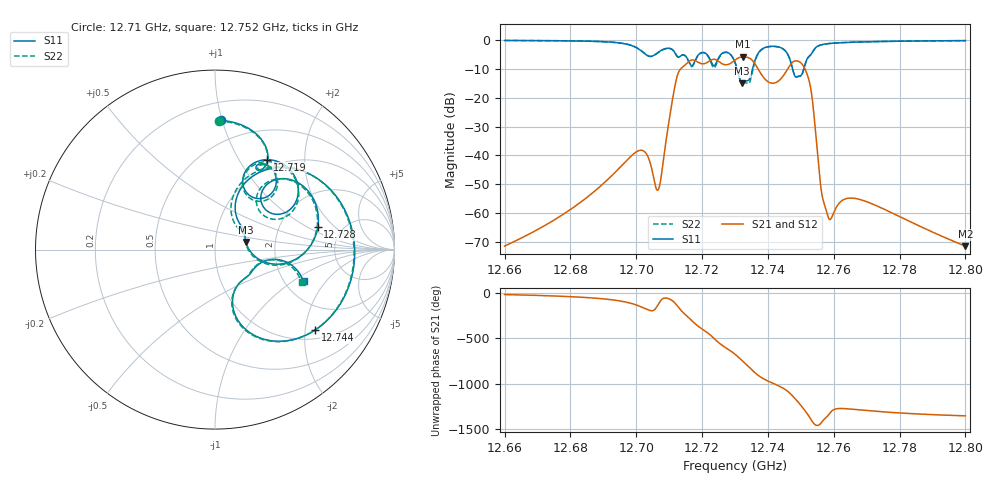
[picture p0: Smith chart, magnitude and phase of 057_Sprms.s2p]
! TOUCHSTONE file generated by CST MICROWAVE STUDIO
! Date and time: Wed Jul 31 13:34:02 2024
! Project name: WaveGuide_BPF-Ver4.1_U-shape_Ku_T3_C4_CWA_2.cst
! Parameters = {cavity_h=16; cavity_l0=10; cavity_l1=15.1863; cavity_l2=16.8749; cavity_l3=17.0974; cavity_l4=17.255; cavity_l5=17.1344; cavity_l6=17.5838; cavity_r=2.5; cavity_screw_l=0.5; cavity_screw_r=1.5; cavity_w=8; iris_h00=0; iris_h01=8.7991; iris_h112=0; iris_h12=5.5887; iris_h211=3.6667; i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
! Header version: 2018
! Port assignment regex: !\s*Touchstone port\s*([0-9]+)\s*=\s*(CST MWS port|CST DS port)\s*([0-9]+|Zmin|Zmax)\s*\(\"(.*)\"\)(\s*mode\s*([0-9]+))?.*
! Touchstone port assignment:
! Touchstone port 1 = CST MWS port 1 ("")
! Touchstone port 2 = CST MWS port 2 ("")
# GHz S RI R 50
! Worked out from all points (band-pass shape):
!   5001 points, 12.66 GHz to 12.8 GHz, reference 50 ohm
!   highest |S21| = -5.82 dB at 12.732 GHz (marker M1); lowest = -71.5 dB at 12.8 GHz (marker M2)
!   |S21| within 3 dB of the highest: 12.71468 GHz to 12.73637 GHz (21.69 MHz wide, 0.17 % of centre); 12.74669 GHz to 12.75068 GHz (3.991 MHz wide, 0.0313 % of centre)
!   lowest |S11| = -15.0 dB at 12.732 GHz (marker M3), VSWR 1.43, Z = 70.4 + j6.29 ohm
!   |S11| at or under -10 dB: 12.73063 GHz to 12.73532 GHz (4.692 MHz wide, 0.0369 % of centre); 12.74749 GHz to 12.75089 GHz (3.406 MHz wide, 0.0267 % of centre)
!   |S22| runs from -15.1 to -0.1 dB; largest |S21 - S12| = 1e-09
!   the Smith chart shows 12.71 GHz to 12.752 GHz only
!   S11 on the Smith chart (normalised r, x): 12.71 GHz: 0.33, +0.99; 12.719 GHz: 0.88, +1.33; 12.728 GHz: 3.32, +1.25; 12.744 GHz: 1.24, -2.27; 12.752 GHz: 2.52, -1.23
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12.66  0.2141 0.9601  0.000256 -7.82e-05  0.000256 -7.82e-05  0.2212 0.9585
12.68335  0.6127 0.7404  0.00108 -0.00115  0.00108 -0.00115  0.6197 0.7346
12.69685  0.8536 0.0148  -0.00137 -0.00779  -0.00137 -0.00779  0.8556 0.00936
12.70203  0.1996 -0.5814  -0.0115 -0.00374  -0.0115 -0.00374  0.2163 -0.5851
12.70668  -0.5076 0.3466  -0.00148 -0.00206  -0.00148 -0.00206  -0.5164 0.321
12.70978  0.0324 0.7199  0.0163 -0.0301  0.0163 -0.0301  0.0205 0.7164
12.71303  0.2284 0.4524  -0.2844 -0.0581  -0.2844 -0.0581  0.2374 0.4529
12.71617  0.2801 0.2903  0.0733 0.4259  0.0733 0.4259  0.282 0.2748
12.71922  0.2908 0.5011  0.3805 -0.1188  0.3805 -0.1188  0.2953 0.4904
12.72434  0.2589 0.315  -0.4371 -0.1148  -0.4371 -0.1148  0.234 0.3026
12.72826  0.5727 0.1242  -0.0106 0.3843  -0.0106 0.3843  0.5683 0.122
12.73  0.4041 -0.0726  0.3164 0.319  0.3164 0.319  0.4007 -0.078
12.73218  0.1718 0.0432  0.4612 -0.2203  0.4612 -0.2203  0.1724 0.0324
12.73249  0.1677 0.0664  0.4146 -0.3002  0.4146 -0.3002  0.1683 0.0534
12.73605  0.1941 0.3968  -0.361 -0.1411  -0.361 -0.1411  0.1632 0.3892
12.74436  0.5596 -0.4469  0.185 0.1324  0.185 0.1324  0.5562 -0.4484
12.74842  0.1394 -0.1828  -0.012 -0.4355  -0.012 -0.4355  0.1342 -0.1887
12.75248  0.4931 -0.1771  0.0325 0.1978  0.0325 0.1978  0.4827 -0.1819
12.75335  0.5435 -0.2436  0.0931 0.0531  0.0931 0.0531  0.5325 -0.2447
12.7585  0.2653 -0.8277  -0.000142 0.000789  -0.000142 0.000789  0.2516 -0.8313
12.77668  -0.8053 -0.5017  -0.00062 0.000874  -0.00062 0.000874  -0.8135 -0.4892
12.8  -0.9684 0.1257  2.08e-05 0.000266  2.08e-05 0.000266  -0.9672 0.1363
